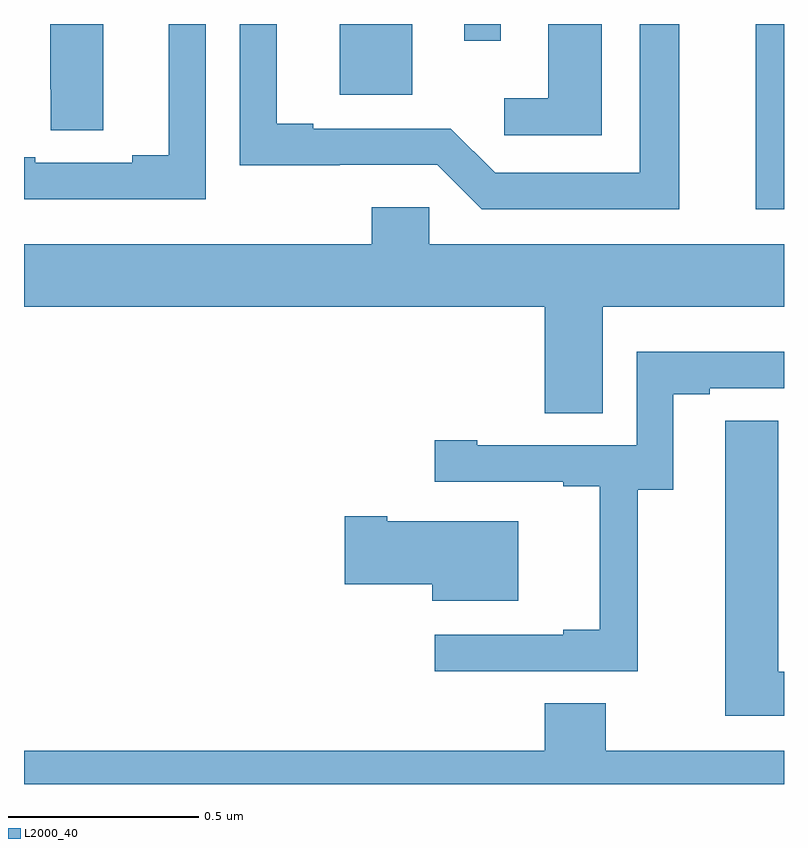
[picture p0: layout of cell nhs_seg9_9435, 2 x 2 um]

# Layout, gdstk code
import gdstk
lib = gdstk.Library(unit=1e-6, precision=1e-09)
def R(c, l, rs):  # rectangles x0, y0, x1, y1
    for r in rs: c.add(gdstk.rectangle(r[:2], r[2:], *l))
def P(c, l, *ps):  # polygons
    for p in ps: c.add(gdstk.Polygon(p, *l))
L2000_40 = (2000, 40)

nhs_seg9_9435 = lib.new_cell('nhs_seg9_9435')
R(nhs_seg9_9435, L2000_40, [(231.926,1194.012,232,1194.5), (230.831,1194.314,231.022,1194.5), (231.158,1194.456,231.255,1194.5)])
P(nhs_seg9_9435, L2000_40, [(231.52,1194.5),(231.38,1194.5),(231.38,1194.304),(231.264,1194.304),(231.264,1194.207),(231.52,1194.207)],
  [(230.478,1194.5),(230.381,1194.5),(230.381,1194.155),(230.285,1194.155),(230.285,1194.135),(230.029,1194.135),(230.029,1194.15),(230,1194.15),(230,1194.039),(230.478,1194.039)],
  [(231.724,1194.5),(231.62,1194.5),(231.62,1194.108),(231.24,1194.108),(231.123,1194.225),(230.761,1194.225),(230.761,1194.238),(230.665,1194.238),(230.665,1194.5),(230.568,1194.5),(230.568,1194.128),(230.831,1194.128),(230.831,1194.129),(231.087,1194.129),(231.204,1194.012),(231.724,1194.012)],
  [(230.209,1194.5),(230.069,1194.5),(230.069,1194.328),(230.07,1194.328),(230.07,1194.22),(230.209,1194.22)],
  [(231.523,1193.756),(232,1193.756),(232,1193.92),(231.066,1193.92),(231.066,1194.018),(230.915,1194.018),(230.915,1193.92),(230,1193.92),(230,1193.756),(231.371,1193.756),(231.371,1193.476),(231.523,1193.476)],
  [(231.615,1193.275),(231.709,1193.275),(231.709,1193.526),(231.805,1193.526),(231.805,1193.541),(232,1193.541),(232,1193.637),(231.612,1193.637),(231.612,1193.391),(231.193,1193.391),(231.193,1193.404),(231.081,1193.404),(231.081,1193.295),(231.419,1193.295),(231.419,1193.283),(231.515,1193.283),(231.515,1192.906),(231.419,1192.906),(231.419,1192.893),(231.081,1192.893),(231.081,1192.797),(231.615,1192.797)],
  [(232,1192.796),(231.985,1192.796),(231.985,1193.456),(231.846,1193.456),(231.846,1193.348),(231.845,1193.348),(231.845,1192.68),(232,1192.68)],
  [(231.301,1193.191),(230.956,1193.191),(230.956,1193.204),(230.844,1193.204),(230.844,1193.026),(231.074,1193.026),(231.074,1192.982),(231.301,1192.982)],
  [(232,1192.588),(231.531,1192.588),(231.531,1192.712),(231.371,1192.712),(231.371,1192.588),(230,1192.588),(230,1192.5),(232,1192.5)])

lib.write_gds('nhs_seg9_9435.gds')
